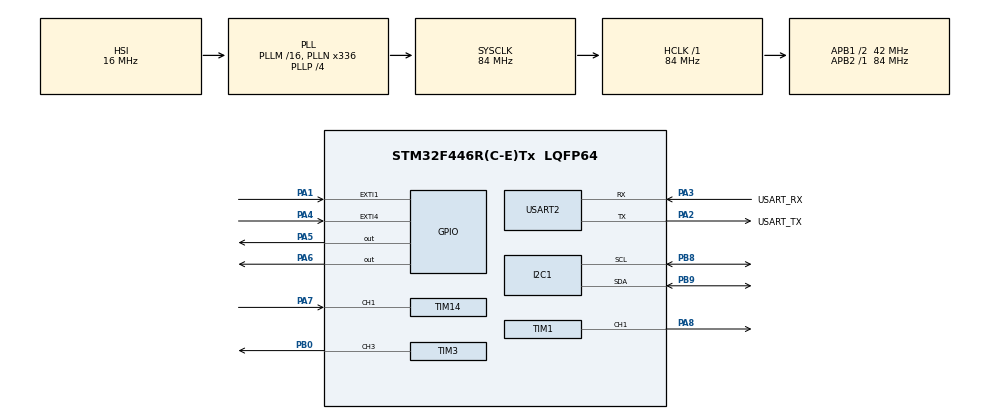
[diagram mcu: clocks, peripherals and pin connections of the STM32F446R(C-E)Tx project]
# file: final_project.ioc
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I2C1.I2C_Mode=I2C_Fast
Mcu.Family=STM32F4
Mcu.Name=STM32F446R(C-E)Tx
Mcu.Package=LQFP64
NVIC.EXTI1_IRQn=true\:0\:0\:false\:false\:true\:true\:true\:true
NVIC.EXTI4_IRQn=true\:0\:0\:false\:false\:true\:true\:true\:true
NVIC.PriorityGroup=NVIC_PRIORITYGROUP_0
NVIC.TIM8_TRG_COM_TIM14_IRQn=true\:0\:0\:false\:false\:true\:true\:true\:true
PA1.GPIO_ModeDefaultEXTI=GPIO_MODE_IT_FALLING
PA1.GPIO_PuPd=GPIO_PULLUP
PA1.Signal=GPXTI1
PA13.GPIO_Label=TMS
PA13.Mode=Serial_Wire
PA13.Signal=SYS_JTMS-SWDIO
PA14.GPIO_Label=TCK
PA14.Mode=Serial_Wire
PA14.Signal=SYS_JTCK-SWCLK
PA2.GPIO_Label=USART_TX
PA2.Mode=Asynchronous
PA2.Signal=USART2_TX
PA3.GPIO_Label=USART_RX
PA3.Mode=Asynchronous
PA3.Signal=USART2_RX
PA4.GPIO_ModeDefaultEXTI=GPIO_MODE_IT_FALLING
PA4.GPIO_PuPd=GPIO_PULLUP
PA4.Signal=GPXTI4
PA5.Signal=GPIO_Output
PA6.Signal=GPIO_Output
PA7.Signal=S_TIM14_CH1
PA8.Signal=S_TIM1_CH1
PB0.Signal=S_TIM3_CH3
PB3.GPIO_Label=SWO
PB3.Signal=SYS_JTDO-SWO
PB8.Mode=I2C
PB8.Signal=I2C1_SCL
PB9.Mode=I2C
PB9.Signal=I2C1_SDA
PC14-OSC32_IN.Mode=LSE-External-Oscillator
PC14-OSC32_IN.Signal=RCC_OSC32_IN
PC15-OSC32_OUT.Mode=LSE-External-Oscillator
PC15-OSC32_OUT.Signal=RCC_OSC32_OUT
PH0-OSC_IN.Mode=HSE-External-Oscillator
PH0-OSC_IN.Signal=RCC_OSC_IN
PH1-OSC_OUT.Mode=HSE-External-Oscillator
PH1-OSC_OUT.Signal=RCC_OSC_OUT
ProjectManager.HeapSize=0x200
ProjectManager.StackSize=0x400
ProjectManager.TargetToolchain=STM32CubeIDE
RCC.48MHZClocksFreq_Value=84000000
RCC.AHBFreq_Value=84000000
RCC.APB1CLKDivider=RCC_HCLK_DIV2
RCC.APB1Freq_Value=42000000
RCC.APB1TimFreq_Value=84000000
RCC.APB2Freq_Value=84000000
RCC.APB2TimFreq_Value=84000000
RCC.CortexFreq_Value=84000000
RCC.FLatency-AdvancedSettings=FLASH_LATENCY_2
RCC.HCLKFreq_Value=84000000
RCC.HSE_VALUE=8000000
RCC.HSI_VALUE=16000000
RCC.PLLN=336
RCC.PLLP=RCC_PLLP_DIV4
RCC.SYSCLKFreq_VALUE=84000000
RCC.SYSCLKSource=RCC_SYSCLKSOURCE_PLLCLK
RCC.USBFreq_Value=168000000
RCC.VCOOutputFreq_Value=336000000
SH.S_TIM14_CH1.0=TIM14_CH1,Input_Capture1_from_TI1
SH.S_TIM1_CH1.0=TIM1_CH1,PWM Generation1 CH1
SH.S_TIM3_CH3.0=TIM3_CH3,PWM Generation3 CH3
TIM1.Channel-PWM\ Generation1\ CH1=TIM_CHANNEL_1
TIM1.Period=20000
TIM1.Prescaler=84
TIM1.Pulse-PWM\ Generation1\ CH1=1000
TIM14.Channel=TIM_CHANNEL_1
TIM14.Prescaler=72
TIM3.Channel-PWM\ Generation3\ CH3=TIM_CHANNEL_3
TIM3.Prescaler=127
USART2.VirtualMode=VM_ASYNC
VP_TIM14_VS_ClockSourceINT.Mode=Enable_Timer
VP_TIM3_VS_ClockSourceINT.Mode=Internal
board=NUCLEO-F446RE

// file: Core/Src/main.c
/* USER CODE BEGIN Header */
/**
  ******************************************************************************
  * @file           : main.c
  * @brief          : Main program body
  ******************************************************************************
  * @attention
  *
  * Copyright (c) 2024 STMicroelectronics.
  * All rights reserved.
  *
  * This software is licensed under terms that can be found in the LICENSE file
  * in the root directory of this software component.
  * If no LICENSE file comes with this software, it is provided AS-IS.
  *
  ******************************************************************************
  */
/* USER CODE END Header */
#include "main.h"

/* USER CODE BEGIN Includes */
#include <string.h>
#include <stdio.h>
#include <math.h>
#include <stdbool.h>
#include "stm32f4xx_hal.h"
#include "bmp280.h"
#include "mpu6050.h"
#include "fonts.h"
#include "ssd1306.h"

/* USER CODE END Includes */

/* USER CODE BEGIN PD */
#define TRIG_PIN GPIO_PIN_6
#define TRIG_PORT GPIOA
/* USER CODE END PD */

I2C_HandleTypeDef hi2c1;

TIM_HandleTypeDef htim1;
TIM_HandleTypeDef htim3;
TIM_HandleTypeDef htim14;

UART_HandleTypeDef huart2;

/* USER CODE BEGIN PV */
BMP280_HandleTypedef bmp280;
uint8_t moveServo;
uint8_t open_drip = 0;
float capacidade = 80;

/* USER CODE END PV */

void SystemClock_Config(void);
static void MX_GPIO_Init(void);
static void MX_USART2_UART_Init(void);
static void MX_I2C1_Init(void);
static void MX_TIM1_Init(void);
static void MX_TIM14_Init(void);
static void MX_TIM3_Init(void);
/* USER CODE BEGIN PFP */
void HCSR04_Read (void);
/* USER CODE END PFP */

/* USER CODE BEGIN 0 */
float altitudeBMP280 ,pressureBMP280, temperatureBMP280, humidityBMP280;

#define BMP280_ADDRESS 0x76
#define TSL2561_ADDR 0x39

MPU6050_t MPU6050;
BMP280_HandleTypedef bmp280;
uint32_t IC_Val1 = 0;
uint32_t IC_Val2 = 0;
uint32_t Difference = 0;
uint8_t Is_First_Captured = 0;  // is the first value captured ?
uint8_t Distance  = 0;

uint16_t size;
char Data[50];
char Data1[20];
char Data2[20];

void atualizarDisplayMPU6050() {

	SSD1306_Clear(); //Seta todos os pixels do buffer para branco
  	//MPU
  	MPU6050_Read_All(&hi2c1, &MPU6050);

	sprintf(Data, "\nInclinacao:\n");
  	HAL_UART_Transmit(&huart2, Data, strlen(Data), 10000);

  	sprintf(Data, "Horizontal: %.2f\n", MPU6050.KalmanAngleX);
  	HAL_UART_Transmit(&huart2, Data, strlen(Data), 10000);

  	sprintf(Data, "Vertical: %.2f\n\n", MPU6050.KalmanAngleY);
  	HAL_UART_Transmit(&huart2, Data, strlen(Data), 10000);

  	SSD1306_GotoXY(0, 0); // Posiciona no início do display
  	sprintf(Data, "Inclinacao:");
  	SSD1306_Puts(Data, &Font_7x10, 1);

  	SSD1306_GotoXY(0, 16); // Posiciona no início do display
  	sprintf(Data, "Horizontal: %.2f", MPU6050.KalmanAngleX);
  	SSD1306_Puts(Data, &Font_7x10, 1);

  	// Exibir o ângulo Y no display
  	SSD1306_GotoXY(0, 28); // Posição na segunda linha (depende do tamanho da fonte)
  	sprintf(Data, "Vertical: %.2f", MPU6050.KalmanAngleY);
  	SSD1306_Puts(Data, &Font_7x10, 1);

  	// Atualizar o display para refletir as mudanças
  	SSD1306_UpdateScreen();

}

void atualizarDisplayBMP280() {

	while (!bmp280_read_float(&bmp280, &temperatureBMP280, &pressureBMP280, &humidityBMP280 , &altitudeBMP280)) {
			size = sprintf((char *)Data, "Temperature/pressure reading failed\n");
	}

	sprintf(Data,"\nClima: \n");
	HAL_UART_Transmit(&huart2, Data, strlen(Data), 10000);

    sprintf(Data,"Pressure: %0.1f\n",pressureBMP280);
    HAL_UART_Transmit(&huart2, Data, strlen(Data), 10000);

    sprintf(Data1,"Altitude: %0.1f\n",altitudeBMP280);
    HAL_UART_Transmit(&huart2, Data1, strlen(Data1), 10000);

    sprintf(Data2,"Temp: %0.2f\n\n",temperatureBMP280);
   	HAL_UART_Transmit(&huart2, Data2, strlen(Data2), 10000);

	SSD1306_Clear(); //Seta todos os pixels do buffer para branco

	// Exibir a pressão no display
	SSD1306_GotoXY(0, 0); // Posição na primeira linha
	sprintf(Data, "Clima: ");
	SSD1306_Puts(Data, &Font_7x10, 1);

	SSD1306_GotoXY(0, 16); // Posição na primeira linha
	sprintf(Data, "Pressure: %.1f", pressureBMP280);
	SSD1306_Puts(Data, &Font_7x10, 1);

	// Exibir a altitude no display
	SSD1306_GotoXY(0, 28); // Posição na segunda linha
	sprintf(Data1, "Altitude: %.1f", altitudeBMP280);
	SSD1306_Puts(Data1, &Font_7x10, 1);

	// Exibir a temperatura no display
	SSD1306_GotoXY(0, 42); // Posição na terceira linha
	sprintf(Data2, "Temp: %.2f", temperatureBMP280);
	SSD1306_Puts(Data2, &Font_7x10, 1);

	// Atualizar o display para refletir as mudanças
	SSD1306_UpdateScreen();

	HAL_Delay(1);

	//Buzzer
	while(temperatureBMP280 > 26.5){
		  int x;
		  for(x=100; x<200; x=x+10)
		  {
			 __HAL_TIM_SET_AUTORELOAD(&htim3, x*2);
			 __HAL_TIM_SET_COMPARE(&htim3  ,TIM_CHANNEL_3, x);
			 HAL_Delay(100);
		  }

		  while (!bmp280_read_float(&bmp280, &temperatureBMP280, &pressureBMP280, &humidityBMP280 , &altitudeBMP280)) {
		  			size = sprintf((char *)Data, "Temperature/pressure reading failed\n");
		  }

		  SSD1306_Clear();

		  SSD1306_GotoXY(0, 0); // Posição na primeira linha
		  sprintf(Data, "Aviso: ");
		  SSD1306_Puts(Data, &Font_7x10, 1);

		  SSD1306_GotoXY(0, 16); // Posição na primeira linha
		  sprintf(Data, "Temperatura Acima ");
		  SSD1306_Puts(Data, &Font_7x10, 1);

		  SSD1306_GotoXY(0, 28); // Posição na primeira linha
		  sprintf(Data, "do limite ! ");
		  SSD1306_Puts(Data, &Font_7x10, 1);

		  SSD1306_GotoXY(0, 42); // Posição na terceira linha
		  sprintf(Data2, "Temp: %.2f", temperatureBMP280);
		  SSD1306_Puts(Data2, &Font_7x10, 1);

		SSD1306_UpdateScreen();

		HAL_Delay(1500);
		//_________________________
	}
	__HAL_TIM_SET_COMPARE(&htim3  ,TIM_CHANNEL_3, 0);
}

void openDrip(){

	 SSD1306_Clear();

	 if(open_drip){
		 //Servo
		 for(int i = 400; i <= 2600; i++) {
			 __HAL_TIM_SET_COMPARE(&htim1, TIM_CHANNEL_1, i);
		 }
		 SSD1306_GotoXY(0, 16); // Posição na primeira linha
		 sprintf(Data, "Irrigacao Ativada!");
		 SSD1306_Puts(Data, &Font_7x10, 1);

		sprintf(Data,"\nIrrigacao Ativada!: \n");
		HAL_UART_Transmit(&huart2, Data, strlen(Data), 10000);

		 moveServo = ~moveServo;
		 open_drip = ~open_drip;
	 }else{
		 for(int i = 2600; i >= 400; i--) {
			 __HAL_TIM_SET_COMPARE(&htim1, TIM_CHANNEL_1, i);
		 }
		 SSD1306_GotoXY(0, 16); // Posição na primeira linha
		 sprintf(Data, "Irrigacao Desativada! ");
		 SSD1306_Puts(Data, &Font_7x10, 1);

		 sprintf(Data,"\nIrrigacao Desativada!: \n");
		 HAL_UART_Transmit(&huart2, Data, strlen(Data), 10000);

		 moveServo = ~moveServo;
		 open_drip = ~open_drip;

	 }

	 SSD1306_UpdateScreen();

}

void capacity(){

	SSD1306_Clear();

	//Ultra
	HCSR04_Read();
	HAL_Delay(1);

	 if (Distance > capacidade) {
		 SSD1306_GotoXY(0, 0); // Posição na primeira linha
		 sprintf(Data, "Alerta: ");
		 SSD1306_Puts(Data, &Font_7x10, 1);

		 SSD1306_GotoXY(0, 16); // Posição na primeira linha
		 sprintf(Data, "Estufa vazia !");
		 SSD1306_Puts(Data, &Font_7x10, 1);

		 sprintf(Data, "\nAlerta: \r\n");
		 HAL_UART_Transmit(&huart2, Data, strlen(Data), 10000);

		 sprintf(Data, "Estufa vazia ! \n");
		 HAL_UART_Transmit(&huart2, Data, strlen(Data), 10000);

	 }else{

		 float v = (1 - (Distance / capacidade)) * 100;
		 SSD1306_GotoXY(0, 0); // Posição na primeira linha
		 sprintf(Data, "Capacidade: ");
		 SSD1306_Puts(Data, &Font_7x10, 1);

		 SSD1306_GotoXY(0, 16); // Posição na primeira linha
		 sprintf(Data, "Estufa em : %.2f%%\n ", v);
		 SSD1306_Puts(Data, &Font_7x10, 1);

		 sprintf(Data, "\nCapacidade: \r\n");
		 HAL_UART_Transmit(&huart2, Data, strlen(Data), 10000);

		 sprintf(Data, "Estufa em : %.2f%%\n", v);
		 HAL_UART_Transmit(&huart2, Data, strlen(Data), 10000);

		 sprintf(Data, "Distancia: %.2f%%\n", Distance);
		 HAL_UART_Transmit(&huart2, Data, strlen(Data), 10000);

	 }

	 SSD1306_UpdateScreen();

}

/* USER CODE END 0 */

int main(void)
{

  /* MCU Configuration--------------------------------------------------------*/

  /* Reset of all peripherals, Initializes the Flash interface and the Systick. */
  HAL_Init();

  /* Configure the system clock */
  SystemClock_Config();

  /* Initialize all configured peripherals */
	MX_GPIO_Init();
	MX_USART2_UART_Init();
	MX_I2C1_Init();
	MX_TIM1_Init();
	MX_TIM14_Init();
	MX_TIM3_Init();
  /* USER CODE BEGIN 2 */
  	MPU6050_Init(&hi2c1);
  	HAL_TIM_PWM_Start(&htim1, TIM_CHANNEL_1); // Servo
	HAL_TIM_IC_Start_IT(&htim14, TIM_CHANNEL_1); // Ultra
	HAL_TIM_PWM_Start(&htim3, TIM_CHANNEL_3); // Temperatura-Pressão-Altitude
	SSD1306_Init();
	uint8_t buffer[40] = {0};

  /* USER CODE END 2 */

  /* Infinite loop */
  /* USER CODE BEGIN WHILE */

  	// SENSOR BMP280
	bmp280_init_default_params(&bmp280.params);
	bmp280.addr = BMP280_I2C_ADDRESS_0;
	bmp280.i2c = &hi2c1;

	while (!(bmp280_init(&bmp280, &bmp280.params)))
		{
			size = sprintf((char *)Data, "BMP280 initialization failed\n");
			HAL_UART_Transmit(&huart2, Data, strlen(Data), 10000);
			HAL_Delay(2000);
		}

	bool bme280p = bmp280.id == BMP280_CHIP_ID;
	size = sprintf((char *)Data, "BMP280: found %s\n", bme280p ? "BME280" : "BMP280");
	//_____________________

  while (1)
  {
    /* USER CODE END WHILE */

    /* USER CODE BEGIN 3 */

	  // SENSOR BMP280
	  atualizarDisplayBMP280();
	  HAL_Delay(2000);
	  atualizarDisplayMPU6050();
	  HAL_Delay(2000);
	  capacity();
	  HAL_Delay(2000);

  }
  /* USER CODE END 3 */
}

void SystemClock_Config(void)
{
  RCC_OscInitTypeDef RCC_OscInitStruct = {0};
  RCC_ClkInitTypeDef RCC_ClkInitStruct = {0};

  /** Configure the main internal regulator output voltage
  */
  __HAL_RCC_PWR_CLK_ENABLE();
  __HAL_PWR_VOLTAGESCALING_CONFIG(PWR_REGULATOR_VOLTAGE_SCALE3);

  /** Initializes the RCC Oscillators according to the specified parameters
  * in the RCC_OscInitTypeDef structure.
  */
  RCC_OscInitStruct.OscillatorType = RCC_OSCILLATORTYPE_HSI;
  RCC_OscInitStruct.HSIState = RCC_HSI_ON;
  RCC_OscInitStruct.HSICalibrationValue = RCC_HSICALIBRATION_DEFAULT;
  RCC_OscInitStruct.PLL.PLLState = RCC_PLL_ON;
  RCC_OscInitStruct.PLL.PLLSource = RCC_PLLSOURCE_HSI;
  RCC_OscInitStruct.PLL.PLLM = 16;
  RCC_OscInitStruct.PLL.PLLN = 336;
  RCC_OscInitStruct.PLL.PLLP = RCC_PLLP_DIV4;
  RCC_OscInitStruct.PLL.PLLQ = 2;
  RCC_OscInitStruct.PLL.PLLR = 2;
  if (HAL_RCC_OscConfig(&RCC_OscInitStruct) != HAL_OK)
  {
    Error_Handler();
  }

  /** Initializes the CPU, AHB and APB buses clocks
  */
  RCC_ClkInitStruct.ClockType = RCC_CLOCKTYPE_HCLK|RCC_CLOCKTYPE_SYSCLK
                              |RCC_CLOCKTYPE_PCLK1|RCC_CLOCKTYPE_PCLK2;
  RCC_ClkInitStruct.SYSCLKSource = RCC_SYSCLKSOURCE_PLLCLK;
  RCC_ClkInitStruct.AHBCLKDivider = RCC_SYSCLK_DIV1;
  RCC_ClkInitStruct.APB1CLKDivider = RCC_HCLK_DIV2;
  RCC_ClkInitStruct.APB2CLKDivider = RCC_HCLK_DIV1;

  if (HAL_RCC_ClockConfig(&RCC_ClkInitStruct, FLASH_LATENCY_2) != HAL_OK)
  {
    Error_Handler();
  }
}

static void MX_I2C1_Init(void)
{

  hi2c1.Instance = I2C1;
  hi2c1.Init.ClockSpeed = 400000;
  hi2c1.Init.DutyCycle = I2C_DUTYCYCLE_2;
  hi2c1.Init.OwnAddress1 = 0;
  hi2c1.Init.AddressingMode = I2C_ADDRESSINGMODE_7BIT;
  hi2c1.Init.DualAddressMode = I2C_DUALADDRESS_DISABLE;
  hi2c1.Init.OwnAddress2 = 0;
  hi2c1.Init.GeneralCallMode = I2C_GENERALCALL_DISABLE;
  hi2c1.Init.NoStretchMode = I2C_NOSTRETCH_DISABLE;
  if (HAL_I2C_Init(&hi2c1) != HAL_OK)
  {
    Error_Handler();
  }

}

static void MX_TIM1_Init(void)
{

  TIM_MasterConfigTypeDef sMasterConfig = {0};
  TIM_OC_InitTypeDef sConfigOC = {0};
  TIM_BreakDeadTimeConfigTypeDef sBreakDeadTimeConfig = {0};

  htim1.Instance = TIM1;
  htim1.Init.Prescaler = 84;
  htim1.Init.CounterMode = TIM_COUNTERMODE_UP;
  htim1.Init.Period = 20000;
  htim1.Init.ClockDivision = TIM_CLOCKDIVISION_DIV1;
  htim1.Init.RepetitionCounter = 0;
  htim1.Init.AutoReloadPreload = TIM_AUTORELOAD_PRELOAD_DISABLE;
  if (HAL_TIM_PWM_Init(&htim1) != HAL_OK)
  {
    Error_Handler();
  }
  sMasterConfig.MasterOutputTrigger = TIM_TRGO_RESET;
  sMasterConfig.MasterSlaveMode = TIM_MASTERSLAVEMODE_DISABLE;
  if (HAL_TIMEx_MasterConfigSynchronization(&htim1, &sMasterConfig) != HAL_OK)
  {
    Error_Handler();
  }
  sConfigOC.OCMode = TIM_OCMODE_PWM1;
  sConfigOC.Pulse = 1000;
  sConfigOC.OCPolarity = TIM_OCPOLARITY_HIGH;
  sConfigOC.OCNPolarity = TIM_OCNPOLARITY_HIGH;
  sConfigOC.OCFastMode = TIM_OCFAST_DISABLE;
  sConfigOC.OCIdleState = TIM_OCIDLESTATE_RESET;
  sConfigOC.OCNIdleState = TIM_OCNIDLESTATE_RESET;
  if (HAL_TIM_PWM_ConfigChannel(&htim1, &sConfigOC, TIM_CHANNEL_1) != HAL_OK)
  {
    Error_Handler();
  }
  sBreakDeadTimeConfig.OffStateRunMode = TIM_OSSR_DISABLE;
  sBreakDeadTimeConfig.OffStateIDLEMode = TIM_OSSI_DISABLE;
  sBreakDeadTimeConfig.LockLevel = TIM_LOCKLEVEL_OFF;
  sBreakDeadTimeConfig.DeadTime = 0;
  sBreakDeadTimeConfig.BreakState = TIM_BREAK_DISABLE;
  sBreakDeadTimeConfig.BreakPolarity = TIM_BREAKPOLARITY_HIGH;
  sBreakDeadTimeConfig.AutomaticOutput = TIM_AUTOMATICOUTPUT_DISABLE;
  if (HAL_TIMEx_ConfigBreakDeadTime(&htim1, &sBreakDeadTimeConfig) != HAL_OK)
  {
    Error_Handler();
  }
  HAL_TIM_MspPostInit(&htim1);

}

static void MX_TIM3_Init(void)
{

  TIM_ClockConfigTypeDef sClockSourceConfig = {0};
  TIM_MasterConfigTypeDef sMasterConfig = {0};
  TIM_OC_InitTypeDef sConfigOC = {0};

  htim3.Instance = TIM3;
  htim3.Init.Prescaler = 127;
  htim3.Init.CounterMode = TIM_COUNTERMODE_UP;
  htim3.Init.Period = 65535;
  htim3.Init.ClockDivision = TIM_CLOCKDIVISION_DIV1;
  htim3.Init.AutoReloadPreload = TIM_AUTORELOAD_PRELOAD_DISABLE;
  if (HAL_TIM_Base_Init(&htim3) != HAL_OK)
  {
    Error_Handler();
  }
  sClockSourceConfig.ClockSource = TIM_CLOCKSOURCE_INTERNAL;
  if (HAL_TIM_ConfigClockSource(&htim3, &sClockSourceConfig) != HAL_OK)
  {
    Error_Handler();
  }
  if (HAL_TIM_PWM_Init(&htim3) != HAL_OK)
  {
    Error_Handler();
  }
  sMasterConfig.MasterOutputTrigger = TIM_TRGO_RESET;
  sMasterConfig.MasterSlaveMode = TIM_MASTERSLAVEMODE_DISABLE;
  if (HAL_TIMEx_MasterConfigSynchronization(&htim3, &sMasterConfig) != HAL_OK)
  {
    Error_Handler();
  }
  sConfigOC.OCMode = TIM_OCMODE_PWM1;
  sConfigOC.Pulse = 0;
  sConfigOC.OCPolarity = TIM_OCPOLARITY_HIGH;
  sConfigOC.OCFastMode = TIM_OCFAST_DISABLE;
  if (HAL_TIM_PWM_ConfigChannel(&htim3, &sConfigOC, TIM_CHANNEL_3) != HAL_OK)
  {
    Error_Handler();
  }
  HAL_TIM_MspPostInit(&htim3);

}

static void MX_TIM14_Init(void)
{

  TIM_IC_InitTypeDef sConfigIC = {0};

  htim14.Instance = TIM14;
  htim14.Init.Prescaler = 72;
  htim14.Init.CounterMode = TIM_COUNTERMODE_UP;
  htim14.Init.Period = 65535;
  htim14.Init.ClockDivision = TIM_CLOCKDIVISION_DIV1;
  htim14.Init.AutoReloadPreload = TIM_AUTORELOAD_PRELOAD_DISABLE;
  if (HAL_TIM_Base_Init(&htim14) != HAL_OK)
  {
    Error_Handler();
  }
  if (HAL_TIM_IC_Init(&htim14) != HAL_OK)
  {
    Error_Handler();
  }
  sConfigIC.ICPolarity = TIM_INPUTCHANNELPOLARITY_RISING;
  sConfigIC.ICSelection = TIM_ICSELECTION_DIRECTTI;
  sConfigIC.ICPrescaler = TIM_ICPSC_DIV1;
  sConfigIC.ICFilter = 0;
  if (HAL_TIM_IC_ConfigChannel(&htim14, &sConfigIC, TIM_CHANNEL_1) != HAL_OK)
  {
    Error_Handler();
  }

}

static void MX_USART2_UART_Init(void)
{

  huart2.Instance = USART2;
  huart2.Init.BaudRate = 115200;
  huart2.Init.WordLength = UART_WORDLENGTH_8B;
  huart2.Init.StopBits = UART_STOPBITS_1;
  huart2.Init.Parity = UART_PARITY_NONE;
  huart2.Init.Mode = UART_MODE_TX_RX;
  huart2.Init.HwFlowCtl = UART_HWCONTROL_NONE;
  huart2.Init.OverSampling = UART_OVERSAMPLING_16;
  if (HAL_UART_Init(&huart2) != HAL_OK)
  {
    Error_Handler();
  }

}

static void MX_GPIO_Init(void)
{
  GPIO_InitTypeDef GPIO_InitStruct = {0};

  /* GPIO Ports Clock Enable */
  __HAL_RCC_GPIOC_CLK_ENABLE();
  __HAL_RCC_GPIOH_CLK_ENABLE();
  __HAL_RCC_GPIOA_CLK_ENABLE();
  __HAL_RCC_GPIOB_CLK_ENABLE();

  /*Configure GPIO pin Output Level */
  HAL_GPIO_WritePin(GPIOA, GPIO_PIN_5|GPIO_PIN_6, GPIO_PIN_RESET);

  /*Configure GPIO pins : PA1 PA4 */
  GPIO_InitStruct.Pin = GPIO_PIN_1|GPIO_PIN_4;
  GPIO_InitStruct.Mode = GPIO_MODE_IT_FALLING;
  GPIO_InitStruct.Pull = GPIO_PULLUP;
  HAL_GPIO_Init(GPIOA, &GPIO_InitStruct);

  /*Configure GPIO pins : PA5 PA6 */
  GPIO_InitStruct.Pin = GPIO_PIN_5|GPIO_PIN_6;
  GPIO_InitStruct.Mode = GPIO_MODE_OUTPUT_PP;
  GPIO_InitStruct.Pull = GPIO_NOPULL;
  GPIO_InitStruct.Speed = GPIO_SPEED_FREQ_LOW;
  HAL_GPIO_Init(GPIOA, &GPIO_InitStruct);

  /* EXTI interrupt init*/
  HAL_NVIC_SetPriority(EXTI1_IRQn, 0, 0);
  HAL_NVIC_EnableIRQ(EXTI1_IRQn);

  HAL_NVIC_SetPriority(EXTI4_IRQn, 0, 0);
  HAL_NVIC_EnableIRQ(EXTI4_IRQn);

}

/* USER CODE BEGIN 4 */
void HCSR04_Read (void)
{
	HAL_GPIO_WritePin(TRIG_PORT, TRIG_PIN, GPIO_PIN_SET);  // pull the TRIG pin HIGH
	HAL_Delay(10);  // wait for 10 us
	HAL_GPIO_WritePin(TRIG_PORT, TRIG_PIN, GPIO_PIN_RESET);  // pull the TRIG pin low

	__HAL_TIM_ENABLE_IT(&htim14, TIM_IT_CC1);
}

void HAL_TIM_IC_CaptureCallback(TIM_HandleTypeDef *htim)
{
	if (htim->Channel == HAL_TIM_ACTIVE_CHANNEL_1)  // if the interrupt source is channel1
	{
		if (Is_First_Captured==0) // if the first value is not captured
		{
			IC_Val1 = HAL_TIM_ReadCapturedValue(htim, TIM_CHANNEL_1); // read the first value
			Is_First_Captured = 1;  // set the first captured as true
			// Now change the polarity to falling edge
			__HAL_TIM_SET_CAPTUREPOLARITY(htim, TIM_CHANNEL_1, TIM_INPUTCHANNELPOLARITY_FALLING);
		}

		else if (Is_First_Captured==1)   // if the first is already captured
		{
			IC_Val2 = HAL_TIM_ReadCapturedValue(htim, TIM_CHANNEL_1);  // read second value
			__HAL_TIM_SET_COUNTER(htim, 0);  // reset the counter

			if (IC_Val2 > IC_Val1)
			{
				Difference = IC_Val2-IC_Val1;
			}

			else if (IC_Val1 > IC_Val2)
			{
				Difference = (0xffff - IC_Val1) + IC_Val2;
			}

			Distance = Difference * .034/2;
			Is_First_Captured = 0; // set it back to false

			// set polarity to rising edge
			__HAL_TIM_SET_CAPTUREPOLARITY(htim, TIM_CHANNEL_1, TIM_INPUTCHANNELPOLARITY_RISING);
			__HAL_TIM_DISABLE_IT(&htim1, TIM_IT_CC1);
		}
	}
}

void HAL_GPIO_EXTI_Callback(uint16_t GPIO_Pin)
{
	if(GPIO_Pin == GPIO_PIN_1){
		HAL_GPIO_TogglePin(GPIOA, GPIO_PIN_5);
	}

	else if(GPIO_Pin == GPIO_PIN_4){
		moveServo = ~moveServo;
		openDrip();
	}

}
/* USER CODE END 4 */

void Error_Handler(void)
{
  __disable_irq();
  while (1)
  {
  }
}
